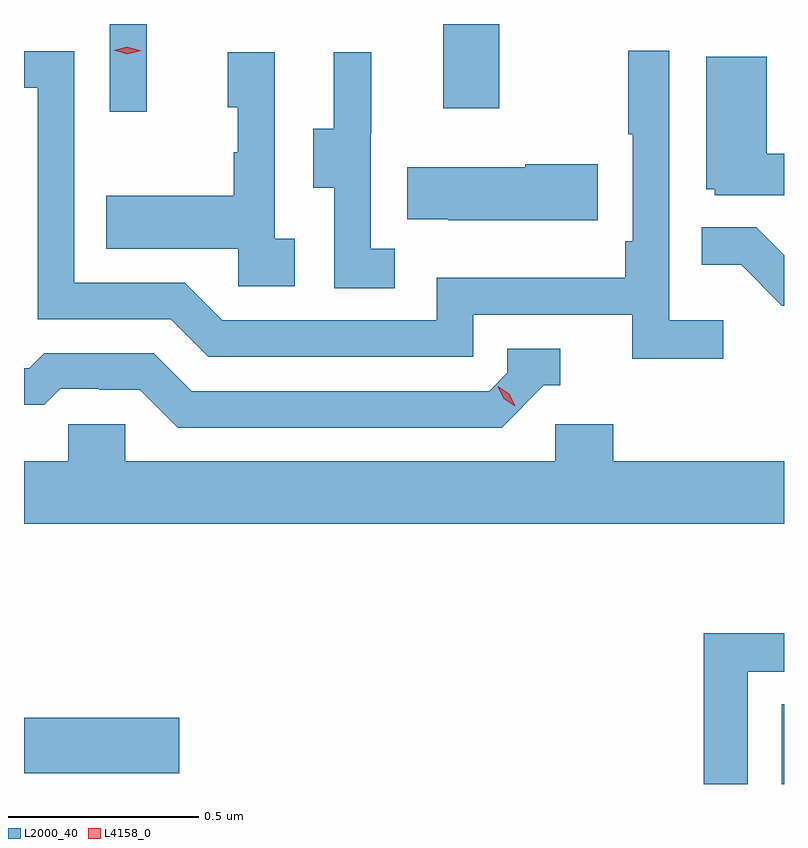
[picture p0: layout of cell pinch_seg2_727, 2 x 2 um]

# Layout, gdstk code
import gdstk
lib = gdstk.Library(unit=1e-6, precision=1e-09)
def R(c, l, rs):  # rectangles x0, y0, x1, y1
    for r in rs: c.add(gdstk.rectangle(r[:2], r[2:], *l))
def P(c, l, *ps):  # polygons
    for p in ps: c.add(gdstk.Polygon(p, *l))
L2000_40 = (2000, 40)
L4158_0 = (4158, 0)

pinch_seg2_727 = lib.new_cell('pinch_seg2_727')
R(pinch_seg2_727, L2000_40, [(1117.034,596.335,1117.04,596.545), (1115.04,596.363,1115.449,596.51), (1115.265,598.104,1115.363,598.335), (1116.143,598.113,1116.291,598.335)])
P(pinch_seg2_727, L2000_40, [(1116.88,597.556),(1116.738,597.556),(1116.738,598.264),(1116.63,598.264),(1116.63,598.045),(1116.642,598.045),(1116.642,597.763),(1116.622,597.763),(1116.622,597.667),(1116.126,597.667),(1116.126,597.555),(1115.562,597.555),(1115.463,597.654),(1115.172,597.654),(1115.172,598.263),(1115.04,598.263),(1115.04,598.167),(1115.076,598.167),(1115.076,597.558),(1115.426,597.558),(1115.525,597.459),(1116.222,597.459),(1116.222,597.57),(1116.641,597.57),(1116.641,597.454),(1116.88,597.454)],
  [(1115.752,597.77),(1115.7,597.77),(1115.7,598.261),(1115.576,598.261),(1115.576,598.116),(1115.602,598.116),(1115.602,597.998),(1115.592,597.998),(1115.592,597.883),(1115.257,597.883),(1115.257,597.743),(1115.604,597.743),(1115.604,597.645),(1115.752,597.645)],
  [(1116.016,597.743),(1115.952,597.743),(1115.952,598.047),(1115.954,598.047),(1115.954,598.261),(1115.855,598.261),(1115.855,598.059),(1115.801,598.059),(1115.801,597.904),(1115.856,597.904),(1115.856,597.64),(1116.016,597.64)],
  [(1117.04,597.994),(1116.994,597.994),(1116.994,598.249),(1116.836,598.249),(1116.836,597.9),(1116.858,597.9),(1116.858,597.885),(1117.04,597.885)],
  [(1116.55,597.966),(1116.359,597.966),(1116.359,597.958),(1116.049,597.958),(1116.049,597.821),(1116.157,597.821),(1116.157,597.818),(1116.55,597.818)],
  [(1117.04,597.727),(1116.967,597.8),(1116.823,597.8),(1116.823,597.701),(1116.927,597.701),(1117.034,597.594),(1117.04,597.594)],
  [(1116.408,597.384),(1116.451,597.384),(1116.451,597.48),(1116.312,597.48),(1116.312,597.417),(1116.264,597.369),(1115.481,597.369),(1115.382,597.468),(1115.093,597.468),(1115.054,597.429),(1115.04,597.429),(1115.04,597.333),(1115.093,597.333),(1115.135,597.375),(1115.238,597.375),(1115.238,597.372),(1115.345,597.372),(1115.444,597.273),(1116.297,597.273)],
  [(1117.04,597.184),(1116.59,597.184),(1116.59,597.282),(1116.438,597.282),(1116.438,597.184),(1115.307,597.184),(1115.307,597.282),(1115.157,597.282),(1115.157,597.184),(1115.04,597.184),(1115.04,597.02),(1117.04,597.02)],
  [(1116.945,596.631),(1117.04,596.631),(1117.04,596.732),(1116.829,596.732),(1116.829,596.335),(1116.945,596.335)])
P(pinch_seg2_727, L4158_0, [(1116.333,597.329),(1116.302,597.349),(1116.287,597.381),(1116.287,597.382),(1116.287,597.382),(1116.317,597.362),(1116.333,597.329),(1116.333,597.329)],
  [(1115.312,598.255),(1115.276,598.266),(1115.276,598.266),(1115.276,598.266),(1115.312,598.275),(1115.348,598.265),(1115.348,598.265),(1115.348,598.265)])

lib.write_gds('pinch_seg2_727.gds')
